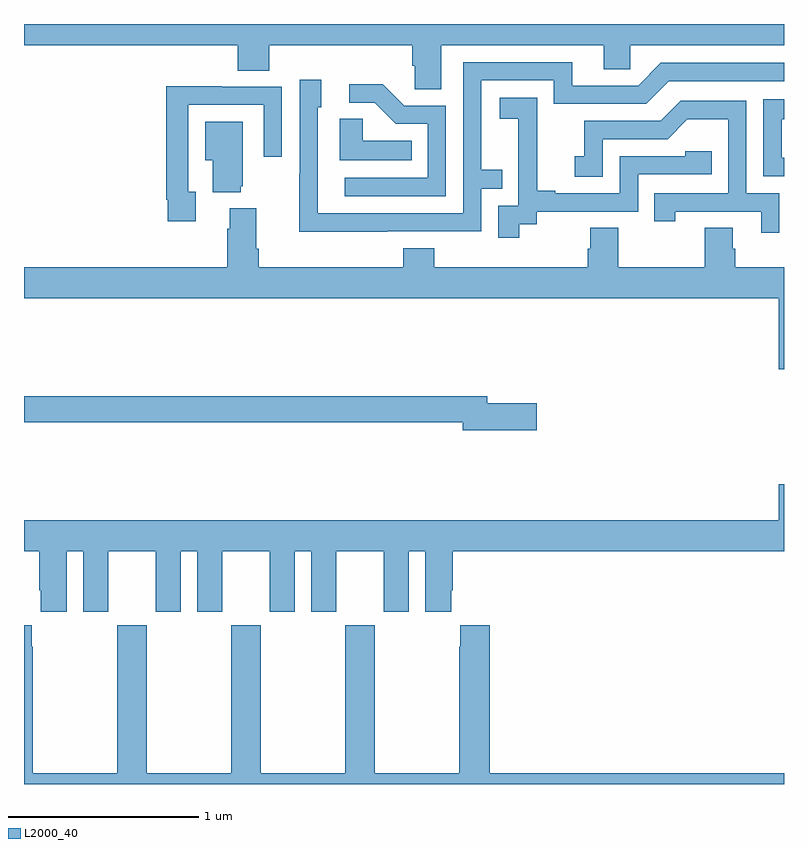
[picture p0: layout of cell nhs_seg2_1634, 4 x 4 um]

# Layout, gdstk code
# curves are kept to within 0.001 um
import gdstk
lib = gdstk.Library(unit=1e-6, precision=1e-09)
def P(c, l, *ps):  # polygons
    for p in ps: c.add(gdstk.Polygon(p, *l))
L2000_40 = (2000, 40)

nhs_seg2_1634 = lib.new_cell('nhs_seg2_1634')
P(nhs_seg2_1634, L2000_40, [(200.051,595.561),(200.19,595.561),(200.19,595.688),(201,595.688),(201,595.8),(197,595.8),(197,595.688),(198.125,595.688),(198.125,595.555),(198.29,595.555),(198.29,595.688),(199.043,595.688),(199.043,595.579),(199.056,595.579),(199.056,595.456),(199.195,595.456),(199.195,595.688),(200.051,595.688)],
  [(198.911,594.708),(199.407,594.708),(199.407,594.933),(199.517,594.933),(199.517,595.034),(199.407,595.034),(199.407,595.503),(199.788,595.503),(199.788,595.38),(200.274,595.38),(200.394,595.5),(201,595.5),(201,595.596),(200.352,595.596),(200.232,595.476),(199.885,595.476),(199.885,595.599),(199.311,595.599),(199.311,594.804),(198.546,594.804),(198.546,595.362),(198.565,595.362),(198.565,595.507),(198.45,595.507),(198.45,595.013),(198.448,595.013),(198.448,594.707)],
  [(199.221,595.371),(199.002,595.371),(198.889,595.484),(198.711,595.484),(198.711,595.386),(198.845,595.386),(198.956,595.275),(199.125,595.275),(199.125,594.99),(198.687,594.99),(198.687,594.894),(199.221,594.894)],
  [(197.905,594.918),(197.865,594.918),(197.865,595.374),(198.261,595.374),(198.261,595.101),(198.357,595.101),(198.357,595.47),(198.041,595.47),(198.041,595.472),(197.749,595.472),(197.749,594.874),(197.757,594.874),(197.757,594.762),(197.905,594.762)],
  [(199.606,594.745),(199.698,594.745),(199.698,594.813),(200.232,594.813),(200.232,595.008),(200.621,595.008),(200.621,595.131),(200.481,595.131),(200.481,595.104),(200.136,595.104),(200.136,594.909),(199.795,594.909),(199.795,594.922),(199.7,594.922),(199.7,595.205),(199.701,595.205),(199.701,595.411),(199.503,595.411),(199.503,595.301),(199.601,595.301),(199.601,595.073),(199.602,595.073),(199.602,594.843),(199.497,594.843),(199.497,594.675),(199.606,594.675)],
  [(201,595.095),(200.989,595.095),(200.989,595.299),(201,595.299),(201,595.405),(200.892,595.405),(200.892,594.999),(201,594.999)],
  [(200.976,594.909),(200.802,594.909),(200.802,595.395),(200.456,595.395),(200.351,595.29),(199.948,595.29),(199.948,595.105),(199.899,595.105),(199.899,594.996),(200.046,594.996),(200.046,595.194),(200.388,595.194),(200.492,595.298),(200.706,595.298),(200.706,594.909),(200.317,594.909),(200.317,594.762),(200.428,594.762),(200.428,594.813),(200.879,594.813),(200.879,594.702),(200.976,594.702)],
  [(199.04,595.186),(198.783,595.186),(198.783,595.301),(198.662,595.301),(198.662,595.082),(199.04,595.082)],
  [(198.14,594.945),(198.151,594.945),(198.151,595.285),(197.954,595.285),(197.954,595.082),(197.993,595.082),(197.993,594.914),(198.14,594.914)],
  [(199.979,594.728),(199.979,594.618),(199.967,594.618),(199.967,594.52),(199.16,594.52),(199.16,594.619),(198.995,594.619),(198.995,594.52),(198.236,594.52),(198.236,594.616),(198.223,594.616),(198.223,594.829),(198.083,594.829),(198.083,594.722),(198.071,594.722),(198.071,594.52),(197,594.52),(197,594.356),(200.972,594.356),(200.972,593.982),(201,593.982),(201,594.52),(200.744,594.52),(200.744,594.618),(200.731,594.618),(200.731,594.728),(200.584,594.728),(200.584,594.52),(200.127,594.52),(200.127,594.728)],
  [(199.699,593.804),(199.438,593.804),(199.438,593.84),(197,593.84),(197,593.704),(199.31,593.704),(199.31,593.662),(199.699,593.662)],
  [(197,593.024),(197.081,593.024),(197.081,592.819),(197.087,592.819),(197.087,592.707),(197.224,592.707),(197.224,593.024),(197.312,593.024),(197.312,592.707),(197.443,592.707),(197.443,593.024),(197.693,593.024),(197.693,592.707),(197.824,592.707),(197.824,593.024),(197.912,593.024),(197.912,592.707),(198.043,592.707),(198.043,593.024),(198.293,593.024),(198.293,592.707),(198.424,592.707),(198.424,593.024),(198.512,593.024),(198.512,592.707),(198.643,592.707),(198.643,593.024),(198.893,593.024),(198.893,592.707),(199.024,592.707),(199.024,593.024),(199.112,593.024),(199.112,592.707),(199.249,592.707),(199.249,592.819),(199.256,592.819),(199.256,593.024),(201,593.024),(201,593.377),(200.972,593.377),(200.972,593.188),(197,593.188)],
  [(198.846,592.636),(198.691,592.636),(198.691,591.856),(198.246,591.856),(198.246,592.636),(198.091,592.636),(198.091,591.856),(197.646,591.856),(197.646,592.636),(197.491,592.636),(197.491,591.856),(197.046,591.856),(197.046,592.523),(197.041,592.523),(197.041,592.636),(197,592.636),(197,591.8),(201,591.8),(201,591.856),(199.451,591.856),(199.451,592.636),(199.295,592.636),(199.295,592.523),(199.291,592.523),(199.291,591.856),(198.846,591.856)])

lib.write_gds('nhs_seg2_1634.gds')
